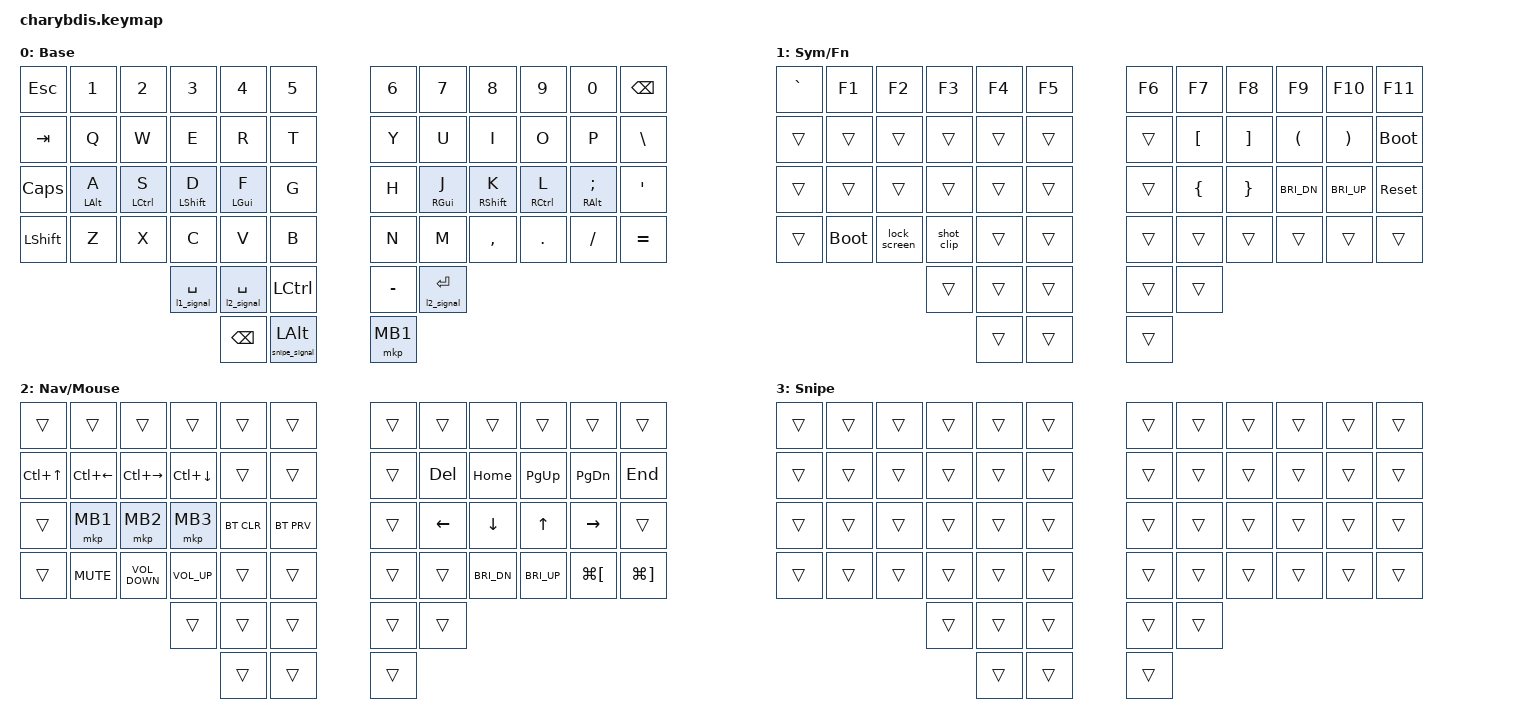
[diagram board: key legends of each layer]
#include <behaviors.dtsi>
#include <dt-bindings/zmk/bt.h>
#include <dt-bindings/zmk/keys.h>
#include <dt-bindings/zmk/modifiers.h>
#include <dt-bindings/zmk/pointing.h>
#include <input/processors.dtsi>

&lt {
    tapping-term-ms = <200>;
    flavor = "balanced";
    quick-tap-ms = <150>;
};

// "Timeless" home-row mods (per official ZMK docs):
// hold only resolves when an opposite-hand key is involved, and is
// suppressed entirely while typing at speed, so timing matters much less.
/ {
    macros {
        // Layer-hold sentinels for the host-side overlay app: while the layer
        // key is held, the firmware also holds F16/F17/F18 (no default action
        // on macOS — F13/F14 were scrapped because macOS maps F14 to display
        // brightness down) so charybdis-overlay can show the active layer in real time.
        l1_signal: l1_signal {
            compatible = "zmk,behavior-macro";
            #binding-cells = <0>;
            bindings
                = <&macro_press &mo 1 &kp F16>
                , <&macro_pause_for_release>
                , <&macro_release &mo 1 &kp F16>
                ;
        };
        l2_signal: l2_signal {
            compatible = "zmk,behavior-macro";
            #binding-cells = <0>;
            bindings
                = <&macro_press &mo 2 &kp F17>
                , <&macro_pause_for_release>
                , <&macro_release &mo 2 &kp F17>
                ;
        };
        snipe_signal: snipe_signal {
            compatible = "zmk,behavior-macro";
            #binding-cells = <0>;
            bindings
                = <&macro_press &mo 3 &kp F18>
                , <&macro_pause_for_release>
                , <&macro_release &mo 3 &kp F18>
                ;
        };

        // macOS lock screen (Ctrl+Cmd+Q).
        lock_screen: lock_screen {
            compatible = "zmk,behavior-macro";
            #binding-cells = <0>;
            tap-ms = <40>;
            bindings = <&kp LC(LG(Q))>;
        };
        // macOS screenshot-to-clipboard (Ctrl+Shift+Cmd+4, selection).
        shot_clip: shot_clip {
            compatible = "zmk,behavior-macro";
            #binding-cells = <0>;
            tap-ms = <40>;
            bindings = <&kp LC(LS(LG(NUMBER_4)))>;
        };
    };

    behaviors {
        hml: home_row_mod_left {
            compatible = "zmk,behavior-hold-tap";
            #binding-cells = <2>;
            flavor = "balanced";
            require-prior-idle-ms = <150>;
            tapping-term-ms = <280>;
            quick-tap-ms = <175>;
            bindings = <&kp>, <&kp>;
            hold-trigger-on-release;
            // right-hand positions (incl. right thumb cluster)
            hold-trigger-key-positions =
                <6 7 8 9 10 11 18 19 20 21 22 23 30 31 32 33 34 35 42 43 44 45 46 47 50 51 52 55>;
        };
        hmr: home_row_mod_right {
            compatible = "zmk,behavior-hold-tap";
            #binding-cells = <2>;
            flavor = "balanced";
            require-prior-idle-ms = <150>;
            tapping-term-ms = <280>;
            quick-tap-ms = <175>;
            bindings = <&kp>, <&kp>;
            hold-trigger-on-release;
            // left-hand positions (incl. left thumb cluster)
            hold-trigger-key-positions =
                <0 1 2 3 4 5 12 13 14 15 16 17 24 25 26 27 28 29 36 37 38 39 40 41 48 49 53 54>;
        };

        // Layer keys with the same feel as &lt, but the hold action also
        // emits the F16/F17/F18 sentinel (see macros above). #binding-cells is
        // fixed at 2 by the hold-tap binding; the first param is a dummy
        // consumed by the parameterless signal macro, the second is the
        // tap keycode (e.g. &l1lt 0 SPACE).
        l1lt: l1lt {
            compatible = "zmk,behavior-hold-tap";
            #binding-cells = <2>;
            flavor = "balanced";
            tapping-term-ms = <200>;
            quick-tap-ms = <150>;
            bindings = <&l1_signal>, <&kp>;
        };
        l2lt: l2lt {
            compatible = "zmk,behavior-hold-tap";
            #binding-cells = <2>;
            flavor = "balanced";
            tapping-term-ms = <200>;
            quick-tap-ms = <150>;
            bindings = <&l2_signal>, <&kp>;
        };
        // Left lower thumb: tap = Alt, hold = snipe (slow ball) layer.
        snipe_alt_lt: snipe_alt_lt {
            compatible = "zmk,behavior-hold-tap";
            #binding-cells = <2>;
            flavor = "balanced";
            tapping-term-ms = <200>;
            quick-tap-ms = <150>;
            bindings = <&snipe_signal>, <&kp>;
        };
    };
};

&trackball_listener {
    scroller {
        layers = <1 2>;
        input-processors = <&zip_xy_to_scroll_mapper>;
    };

    sniper {
        layers = <3>;
        input-processors = <&zip_xy_scaler 1 4>;
    };
};

/ {
    combos {
        compatible = "zmk,combos";

        escc {
            bindings = <&kp ESC>;
            key-positions = <17 18>;
            layers = <0>;
        };
    };

    keymap {
        compatible = "zmk,keymap";

        Base {
            display-name = "Base";
            bindings = <
&kp ESC       &kp N1  &kp N2  &kp N3       &kp N4            &kp N5          &kp N6     &kp N7     &kp N8     &kp N9   &kp N0     &kp BSPC
&kp TAB       &kp Q   &kp W   &kp E        &kp R             &kp T           &kp Y      &kp U      &kp I      &kp O    &kp P      &kp BACKSLASH
&kp CAPSLOCK  &hml LALT A   &hml LCTRL S   &hml LSHIFT D   &hml LGUI F       &kp G           &kp H      &hmr RGUI J      &hmr RSHIFT K     &hmr RCTRL L    &hmr RALT SEMI  &kp APOS
&kp LSHIFT    &kp Z   &kp X   &kp C        &kp V             &kp B           &kp N      &kp M      &kp COMMA  &kp DOT  &kp SLASH  &kp EQUAL
                              &l1lt 0 SPACE  &l2lt 0 SPACE   &kp LCTRL       &kp MINUS  &l2lt 0 ENTER
                                           &kp BSPC  &snipe_alt_lt 0 LALT    &mkp MB1
            >;
        };

        layer_1 {
            display-name = "Sym/Fn";
            bindings = <
&kp GRAVE       &kp F1     &kp F2  &kp F3  &kp F4  &kp F5    &kp F6  &kp F7           &kp F8            &kp F9            &kp F10            &kp F11
&trans          &trans     &trans  &trans  &trans  &trans    &trans  &kp LEFT_BRACKET  &kp RIGHT_BRACKET  &kp LPAR    &kp RPAR   &bootloader
&trans          &trans     &trans  &trans  &trans  &trans    &trans  &kp LEFT_BRACE    &kp RIGHT_BRACE    &kp C_BRI_DN  &kp C_BRI_UP  &sys_reset
&trans          &bootloader            &lock_screen  &shot_clip  &trans  &trans    &trans  &trans          &trans          &trans            &trans             &trans
                                                &trans  &trans  &trans    &trans  &trans
                                                        &trans  &trans    &trans
            >;
        };

        layer_2 {
            display-name = "Nav/Mouse";
            bindings = <
&trans  &trans    &trans    &trans    &trans    &trans    &trans  &trans      &trans    &trans    &trans    &trans
&kp LC(UP_ARROW)  &kp LC(LEFT_ARROW)  &kp LC(RIGHT_ARROW)  &kp LC(DOWN_ARROW)  &trans    &trans    &trans  &kp DEL     &kp HOME  &kp PG_UP  &kp PG_DN  &kp END
&trans  &mkp MB1  &mkp MB2  &mkp MB3  &bt BT_CLR  &bt BT_PRV    &trans  &kp LEFT_ARROW  &kp DOWN_ARROW  &kp UP_ARROW  &kp RIGHT_ARROW  &trans
&trans  &kp K_MUTE  &kp K_VOLUME_DOWN  &kp K_VOLUME_UP  &trans  &trans    &trans  &trans  &kp C_BRI_DN  &kp C_BRI_UP  &kp LG(LEFT_BRACKET)  &kp LG(RIGHT_BRACKET)
                                                &trans  &trans  &trans    &trans  &trans
                                                        &trans  &trans    &trans
            >;
        };

        // Snipe layer: slows the ball to a quarter speed for precise pointing.
        layer_3 {
            display-name = "Snipe";
            bindings = <
&trans  &trans  &trans  &trans  &trans  &trans    &trans  &trans  &trans  &trans  &trans  &trans
&trans  &trans  &trans  &trans  &trans  &trans    &trans  &trans  &trans  &trans  &trans  &trans
&trans  &trans  &trans  &trans  &trans  &trans    &trans  &trans  &trans  &trans  &trans  &trans
&trans  &trans  &trans  &trans  &trans  &trans    &trans  &trans  &trans  &trans  &trans  &trans
                                                &trans  &trans  &trans    &trans  &trans
                                                        &trans  &trans    &trans
            >;
        };
    };
};
